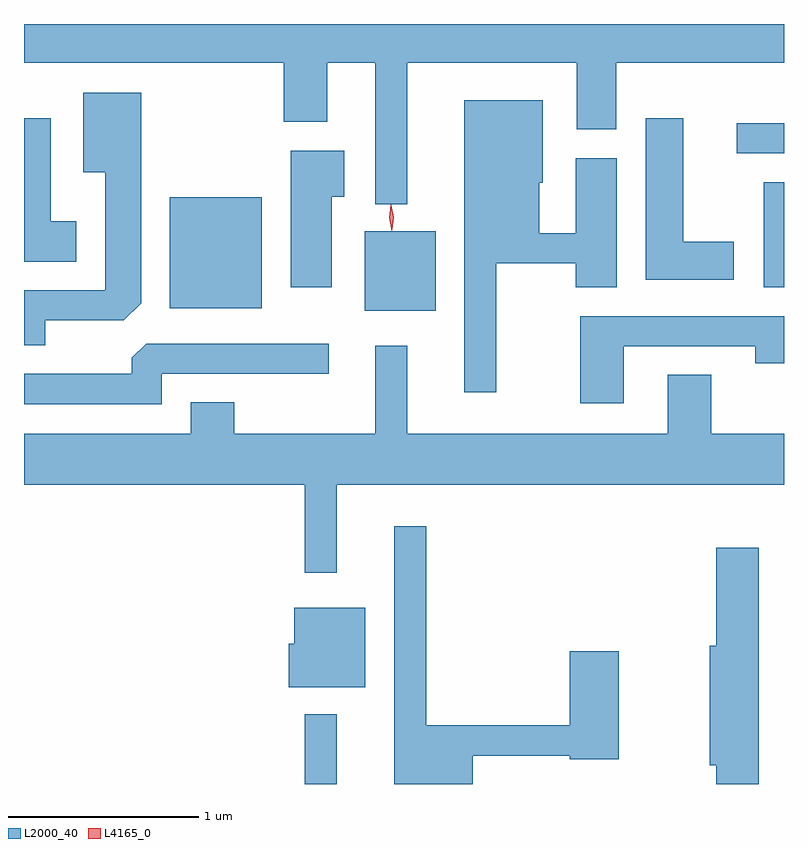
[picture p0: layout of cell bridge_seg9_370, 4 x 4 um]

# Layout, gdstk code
import gdstk
lib = gdstk.Library(unit=1e-6, precision=1e-09)
def R(c, l, rs):  # rectangles x0, y0, x1, y1
    for r in rs: c.add(gdstk.rectangle(r[:2], r[2:], *l))
def P(c, l, *ps):  # polygons
    for p in ps: c.add(gdstk.Polygon(p, *l))
L2000_40 = (2000, 40)
L4165_0 = (4165, 0)

bridge_seg9_370 = lib.new_cell('bridge_seg9_370')
R(bridge_seg9_370, L2000_40, [(1057.101,1945.841,1057.269,1946.208), (1057.416,1948.331,1057.789,1948.749), (1056.391,1948.346,1056.874,1948.929), (1059.516,1948.456,1059.623,1949.009), (1059.373,1949.161,1059.623,1949.319)])
P(bridge_seg9_370, L2000_40, [(1057.639,1949.636),(1058.531,1949.636),(1058.531,1949.286),(1058.739,1949.286),(1058.739,1949.636),(1059.623,1949.636),(1059.623,1949.841),(1055.623,1949.841),(1055.623,1949.636),(1056.991,1949.636),(1056.991,1949.326),(1057.219,1949.326),(1057.219,1949.636),(1057.471,1949.636),(1057.471,1948.893),(1057.639,1948.893)],
  [(1055.734,1948.281),(1056.149,1948.281),(1056.239,1948.372),(1056.239,1949.479),(1055.936,1949.479),(1055.936,1949.061),(1056.051,1949.061),(1056.051,1948.439),(1055.623,1948.439),(1055.623,1948.151),(1055.734,1948.151)],
  [(1058.109,1948.581),(1058.526,1948.581),(1058.526,1948.456),(1058.744,1948.456),(1058.744,1949.134),(1058.526,1949.134),(1058.526,1948.739),(1058.334,1948.739),(1058.334,1949.006),(1058.354,1949.006),(1058.354,1949.439),(1057.941,1949.439),(1057.941,1947.903),(1058.109,1947.903)],
  [(1059.359,1948.694),(1059.094,1948.694),(1059.094,1949.344),(1058.896,1949.344),(1058.896,1948.496),(1059.359,1948.496)],
  [(1055.899,1948.804),(1055.764,1948.804),(1055.764,1949.344),(1055.623,1949.344),(1055.623,1948.591),(1055.899,1948.591)],
  [(1057.244,1948.931),(1057.309,1948.931),(1057.309,1949.174),(1057.026,1949.174),(1057.026,1948.456),(1057.244,1948.456)],
  [(1058.779,1948.146),(1059.471,1948.146),(1059.471,1948.056),(1059.623,1948.056),(1059.623,1948.304),(1058.551,1948.304),(1058.551,1947.846),(1058.779,1947.846)],
  [(1056.349,1948.001),(1057.228,1948.001),(1057.228,1948.159),(1056.267,1948.159),(1056.191,1948.084),(1056.191,1947.999),(1055.623,1947.999),(1055.623,1947.841),(1056.349,1947.841)],
  [(1057.269,1947.416),(1059.623,1947.416),(1059.623,1947.684),(1059.239,1947.684),(1059.239,1947.994),(1059.011,1947.994),(1059.011,1947.684),(1057.639,1947.684),(1057.639,1948.148),(1057.471,1948.148),(1057.471,1947.684),(1056.729,1947.684),(1056.729,1947.849),(1056.501,1947.849),(1056.501,1947.684),(1055.623,1947.684),(1055.623,1947.416),(1057.101,1947.416),(1057.101,1946.953),(1057.269,1946.953)],
  [(1057.984,1945.991),(1058.496,1945.991),(1058.496,1945.971),(1058.754,1945.971),(1058.754,1946.539),(1058.496,1946.539),(1058.496,1946.149),(1057.739,1946.149),(1057.739,1947.198),(1057.571,1947.198),(1057.571,1945.841),(1057.984,1945.841)],
  [(1059.489,1947.084),(1059.266,1947.084),(1059.266,1946.569),(1059.231,1946.569),(1059.231,1945.941),(1059.266,1945.941),(1059.266,1945.841),(1059.489,1945.841)],
  [(1057.419,1946.769),(1057.046,1946.769),(1057.046,1946.579),(1057.016,1946.579),(1057.016,1946.351),(1057.419,1946.351)])
P(bridge_seg9_370, L4165_0, [(1057.558,1948.754),(1057.558,1948.754),(1057.546,1948.822),(1057.554,1948.89),(1057.555,1948.891),(1057.555,1948.89),(1057.566,1948.822),(1057.558,1948.754)],
  [(1057.56,1948.758),(1057.56,1948.759),(1057.548,1948.823),(1057.556,1948.887),(1057.556,1948.887),(1057.557,1948.887),(1057.568,1948.823),(1057.561,1948.759)])

lib.write_gds('bridge_seg9_370.gds')
